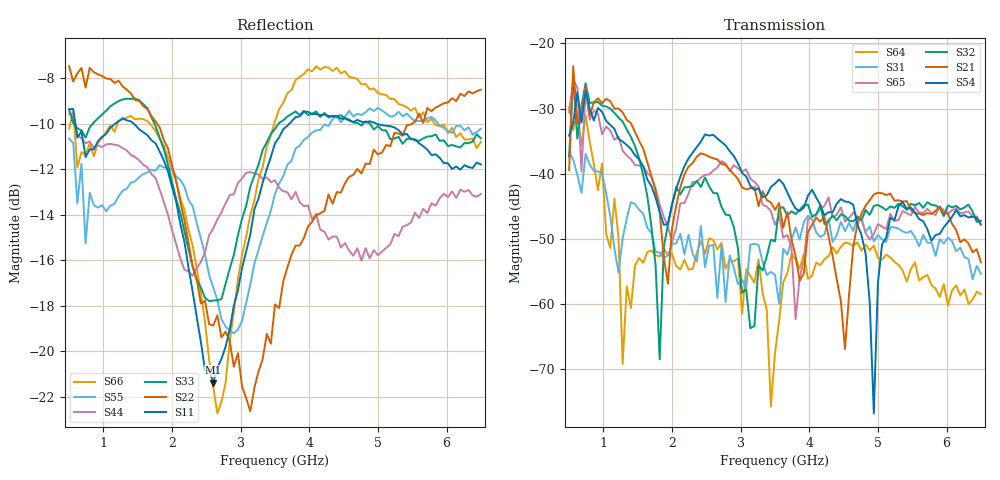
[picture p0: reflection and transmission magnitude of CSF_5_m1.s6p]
!Keysight Technologies,M9804A,MY58100912,A.14.10.03
!Date: Thursday, April 27, 2023 10:28:33
!Correction: S11(C  6-Port  )
!S12(C  6-Port  )
!S13(C  6-Port  )
!S14(C  6-Port  )
!S15(C  6-Port  )
!S16(C  6-Port  )
!S21(C  6-Port  )
!S22(C  6-Port  )
!S23(C  6-Port  )
!S24(C  6-Port  )
!S25(C  6-Port  )
!S26(C  6-Port  )
!S31(C  6-Port  )
!S32(C  6-Port  )
!S33(C  6-Port  )
!S34(C  6-Port  )
!S35(C  6-Port  )
!S36(C  6-Port  )
!S41(C  6-Port  )
!S42(C  6-Port  )
!S43(C  6-Port  )
!S44(C  6-Port  )
!S45(C  6-Port  )
!S46(C  6-Port  )
!S51(C  6-Port  )
!S52(C  6-Port  )
!S53(C  6-Port  )
!S54(C  6-Port  )
!S55(C  6-Port  )
!S56(C  6-Port  )
!S61(C  6-Port  )
!S62(C  6-Port  )
!S63(C  6-Port  )
!S64(C  6-Port  )
!S65(C  6-Port  )
!S66(C  6-Port  )
!S6P File: Measurement: :
# Hz S  RI  R 50
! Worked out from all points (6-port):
!   101 points, 500 MHz to 6.5 GHz, reference 50 ohm
!   strongest paths, dB at 500 MHz, 2 GHz, 3.5 GHz, 5 GHz, 6.5 GHz:
!     S54: -34.2, -44.7, -41.5, -56.8, -47.8
!     S21: -39.4, -48.4, -45.6, -42.9, -53.6
!     S32: -37.4, -44.8, -50.4, -44.8, -47.2
!     S65: -30.5, -50.5, -47.9, -47.7, -47.8
!     S31: -36.7, -50.8, -55.6, -49.4, -55.4
!     S64: -29.8, -52.3, -67.6, -52.9, -58.5
!   lowest |S11| = -21.4 dB at 2.6 GHz (marker M1), VSWR 1.19, Z = 42.4 + j2.2 ohm
!   |S11| at or under -10 dB: 590.5 MHz to 1.175 GHz (584.3 MHz wide, 66.2 % of centre); 1.438 GHz to 3.712 GHz (2.274 GHz wide, 88.3 % of centre); 4.976 GHz to end of sweep
